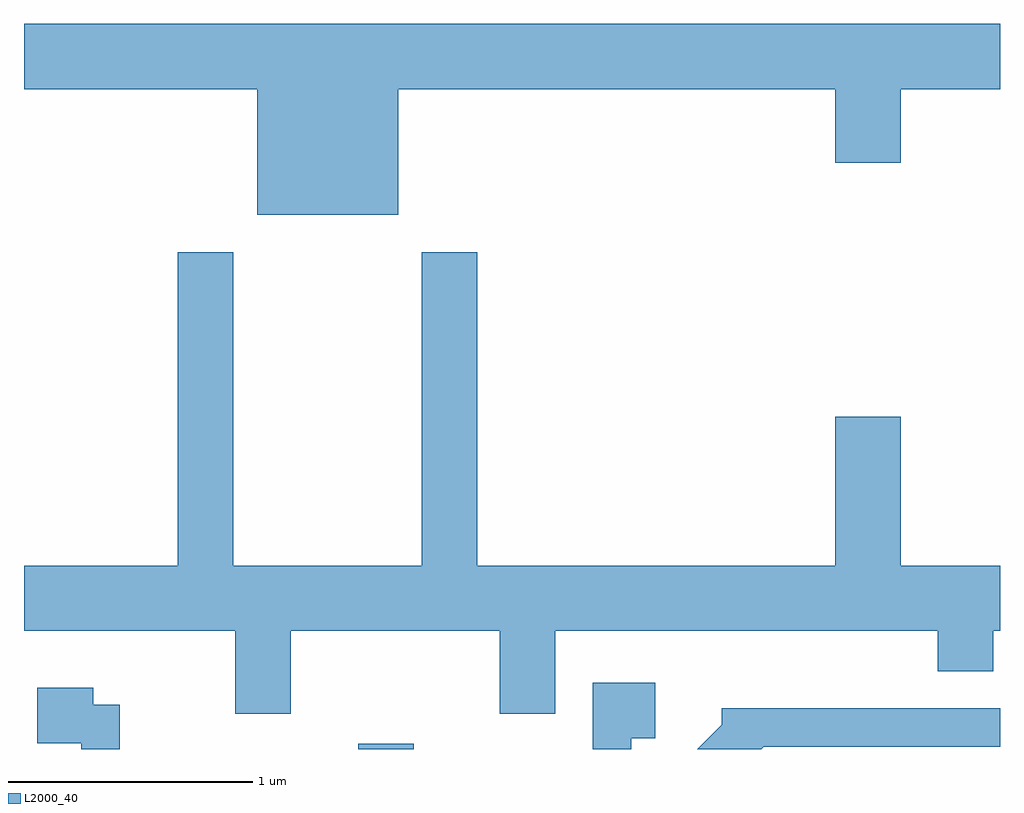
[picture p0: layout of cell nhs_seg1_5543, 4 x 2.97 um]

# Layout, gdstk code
import gdstk
lib = gdstk.Library(unit=1e-6, precision=1e-09)
def R(c, l, rs):  # rectangles x0, y0, x1, y1
    for r in rs: c.add(gdstk.rectangle(r[:2], r[2:], *l))
def P(c, l, *ps):  # polygons
    for p in ps: c.add(gdstk.Polygon(p, *l))
L2000_40 = (2000, 40)

nhs_seg1_5543 = lib.new_cell('nhs_seg1_5543')
R(nhs_seg1_5543, L2000_40, [(352.981,945.712,353.209,945.734)])
P(nhs_seg1_5543, L2000_40, [(353.144,948.416),(354.936,948.416),(354.936,948.116),(355.204,948.116),(355.204,948.416),(355.611,948.416),(355.611,948.684),(351.611,948.684),(351.611,948.416),(352.566,948.416),(352.566,947.901),(353.144,947.901)],
  [(352.704,946.196),(353.561,946.196),(353.561,945.856),(353.789,945.856),(353.789,946.196),(355.356,946.196),(355.356,946.031),(355.584,946.031),(355.584,946.196),(355.611,946.196),(355.611,946.464),(355.204,946.464),(355.204,947.074),(354.936,947.074),(354.936,946.464),(353.469,946.464),(353.469,947.749),(353.241,947.749),(353.241,946.464),(352.469,946.464),(352.469,947.749),(352.241,947.749),(352.241,946.464),(351.611,946.464),(351.611,946.196),(352.476,946.196),(352.476,945.856),(352.704,945.856)],
  [(354.099,945.756),(354.199,945.756),(354.199,945.984),(353.941,945.984),(353.941,945.712),(354.099,945.712)],
  [(352.004,945.894),(351.894,945.894),(351.894,945.964),(351.666,945.964),(351.666,945.736),(351.846,945.736),(351.846,945.712),(352.004,945.712)],
  [(354.642,945.721),(355.611,945.721),(355.611,945.879),(354.471,945.879),(354.471,945.812),(354.371,945.712),(354.633,945.712)])

lib.write_gds('nhs_seg1_5543.gds')
